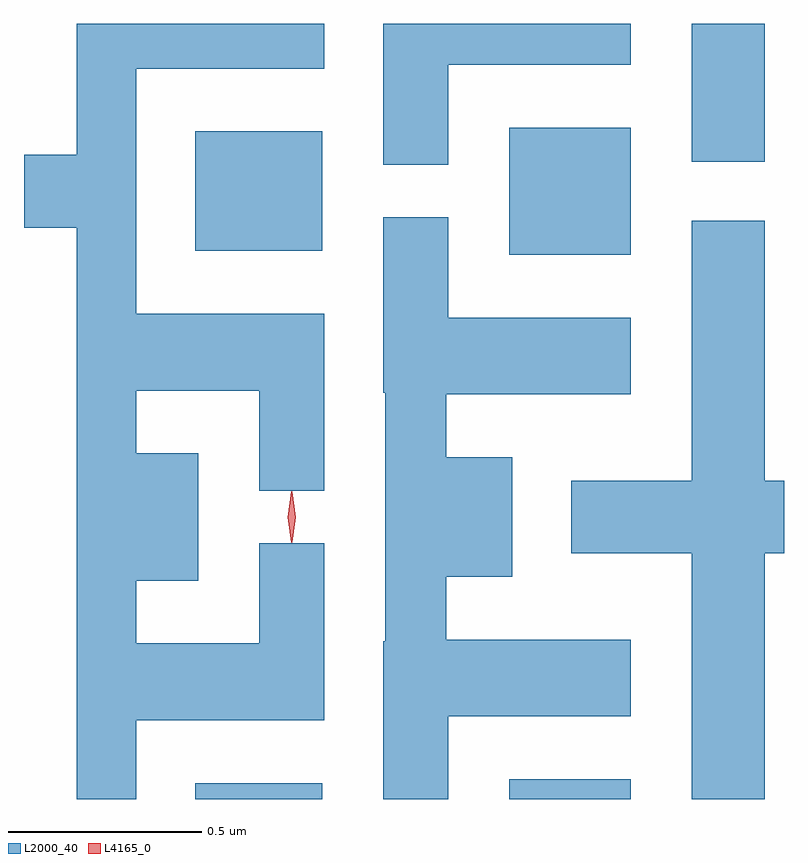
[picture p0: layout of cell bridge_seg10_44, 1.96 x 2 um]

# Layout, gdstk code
import gdstk
lib = gdstk.Library(unit=1e-6, precision=1e-09)
def R(c, l, rs):  # rectangles x0, y0, x1, y1
    for r in rs: c.add(gdstk.rectangle(r[:2], r[2:], *l))
def P(c, l, *ps):  # polygons
    for p in ps: c.add(gdstk.Polygon(p, *l))
L2000_40 = (2000, 40)
L4165_0 = (4165, 0)

bridge_seg10_44 = lib.new_cell('bridge_seg10_44')
R(bridge_seg10_44, L2000_40, [(1749.886,2173.482,1750.214,2173.524), (1750.696,2173.482,1751.009,2173.534), (1750.696,2174.886,1751.009,2175.214), (1749.886,2174.896,1750.214,2175.204), (1751.166,2175.126,1751.354,2175.482)])
P(bridge_seg10_44, L2000_40, [(1749.734,2173.686),(1750.219,2173.686),(1750.219,2174.143),(1750.051,2174.143),(1750.051,2173.884),(1749.734,2173.884),(1749.734,2174.046),(1749.894,2174.046),(1749.894,2174.374),(1749.734,2174.374),(1749.734,2174.536),(1750.051,2174.536),(1750.051,2174.278),(1750.219,2174.278),(1750.219,2174.734),(1749.734,2174.734),(1749.734,2175.366),(1750.219,2175.366),(1750.219,2175.482),(1749.581,2175.482),(1749.581,2175.144),(1749.445,2175.144),(1749.445,2174.956),(1749.581,2174.956),(1749.581,2173.482),(1749.734,2173.482)],
  [(1750.539,2175.376),(1751.009,2175.376),(1751.009,2175.482),(1750.371,2175.482),(1750.371,2175.118),(1750.539,2175.118)],
  [(1750.539,2173.696),(1751.009,2173.696),(1751.009,2173.894),(1750.534,2173.894),(1750.534,2174.056),(1750.704,2174.056),(1750.704,2174.364),(1750.534,2174.364),(1750.534,2174.526),(1751.009,2174.526),(1751.009,2174.724),(1750.539,2174.724),(1750.539,2174.983),(1750.371,2174.983),(1750.371,2174.53),(1750.376,2174.53),(1750.376,2173.89),(1750.371,2173.89),(1750.371,2173.482),(1750.539,2173.482)],
  [(1751.354,2174.116),(1751.404,2174.116),(1751.404,2174.304),(1751.354,2174.304),(1751.354,2174.974),(1751.166,2174.974),(1751.166,2174.304),(1750.856,2174.304),(1750.856,2174.116),(1751.166,2174.116),(1751.166,2173.482),(1751.354,2173.482)])
P(bridge_seg10_44, L4165_0, [(1750.135,2174.144),(1750.134,2174.145),(1750.125,2174.21),(1750.134,2174.275),(1750.135,2174.276),(1750.136,2174.275),(1750.145,2174.21),(1750.136,2174.145)])

lib.write_gds('bridge_seg10_44.gds')
